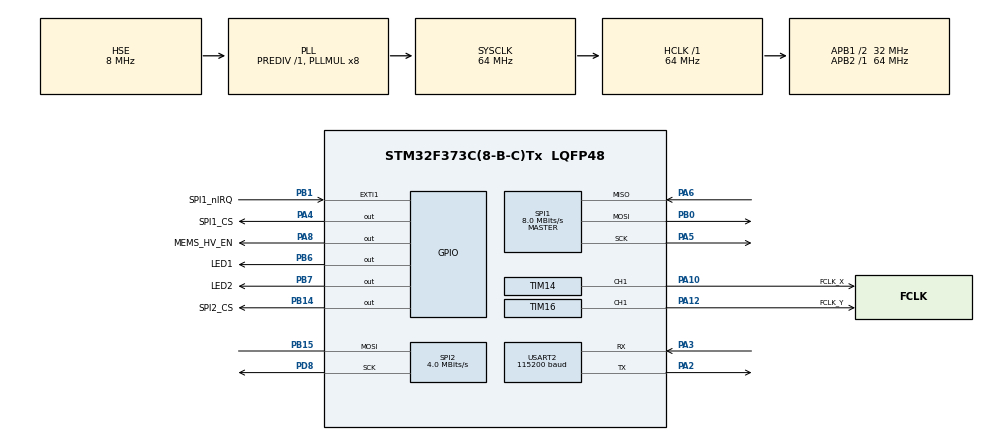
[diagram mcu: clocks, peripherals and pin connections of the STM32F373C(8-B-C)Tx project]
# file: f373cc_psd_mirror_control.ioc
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IWDG.Prescaler=IWDG_PRESCALER_256
IWDG.Reload=IWDG_COUNTER_VAL
IWDG.Window=IWDG_WINDOW_VAL
Mcu.Family=STM32F3
Mcu.Name=STM32F373C(8-B-C)Tx
Mcu.Package=LQFP48
Mcu.UserConstants=TIM14_COUNT_PERIOD,(64000-1);TIM13_COUNT_PERIOD,(64000-1);TIM16_COUNT_PERIOD,(64000-1);IWDG_COUNTER_VAL,128;IWDG_WINDOW_VAL,128
NVIC.EXTI1_IRQn=true\:0\:0\:false\:false\:true\:true\:true\:true
NVIC.PriorityGroup=NVIC_PRIORITYGROUP_4
PA10.GPIO_Label=FCLK_X
PA10.Signal=S_TIM14_CH1
PA12.GPIO_Label=FCLK_Y
PA12.Signal=S_TIM16_CH1
PA13.Mode=Serial_Wire
PA13.Signal=SYS_JTMS-SWDIO
PA14.Mode=Serial_Wire
PA14.Signal=SYS_JTCK-SWCLK
PA2.Mode=Asynchronous
PA2.Signal=USART2_TX
PA3.Mode=Asynchronous
PA3.Signal=USART2_RX
PA4.GPIO_Label=SPI1_CS
PA4.GPIO_Speed=GPIO_SPEED_FREQ_HIGH
PA4.PinState=GPIO_PIN_RESET
PA4.Signal=GPIO_Output
PA5.Mode=Full_Duplex_Master
PA5.Signal=SPI1_SCK
PA6.Mode=Full_Duplex_Master
PA6.Signal=SPI1_MISO
PA8.GPIO_Label=MEMS_HV_EN
PA8.Signal=GPIO_Output
PB0.Mode=Full_Duplex_Master
PB0.Signal=SPI1_MOSI
PB1.GPIO_Label=SPI1_nIRQ
PB1.GPIO_ModeDefaultEXTI=GPIO_MODE_IT_FALLING
PB1.Signal=GPXTI1
PB14.GPIO_Label=SPI2_CS
PB14.GPIO_Speed=GPIO_SPEED_FREQ_HIGH
PB14.Signal=GPIO_Output
PB15.Mode=Simplex_Bidirectional_Master
PB15.Signal=SPI2_MOSI
PB6.GPIO_Label=LED1
PB6.Signal=GPIO_Output
PB7.GPIO_Label=LED2
PB7.Signal=GPIO_Output
PB9.Signal=S_TIM17_CH1
PD8.Mode=Simplex_Bidirectional_Master
PD8.Signal=SPI2_SCK
PF0-OSC_IN.Mode=HSE-External-Oscillator
PF0-OSC_IN.Signal=RCC_OSC_IN
PF1-OSC_OUT.Mode=HSE-External-Oscillator
PF1-OSC_OUT.Signal=RCC_OSC_OUT
ProjectManager.HeapSize=0x200
ProjectManager.StackSize=0x400
ProjectManager.TargetToolchain=STM32CubeIDE
RCC.AHBFreq_Value=64000000
RCC.APB1CLKDivider=RCC_HCLK_DIV2
RCC.APB1Freq_Value=32000000
RCC.APB1TimFreq_Value=64000000
RCC.APB2Freq_Value=64000000
RCC.APB2TimFreq_Value=64000000
RCC.CortexFreq_Value=64000000
RCC.HCLKFreq_Value=64000000
RCC.HSE_VALUE=8000000
RCC.HSI_VALUE=8000000
RCC.LSE_VALUE=32768
RCC.PLLMUL=RCC_PLL_MUL8
RCC.PLLSourceVirtual=RCC_PLLSOURCE_HSE
RCC.SYSCLKFreq_VALUE=64000000
RCC.SYSCLKSource=RCC_SYSCLKSOURCE_PLLCLK
RCC.USBFreq_Value=64000000
SH.S_TIM14_CH1.0=TIM14_CH1,Output Compare1 CH1
SH.S_TIM16_CH1.0=TIM16_CH1,Output Compare1 CH1
SH.S_TIM17_CH1.0=TIM17_CH1
SPI1.BaudRatePrescaler=SPI_BAUDRATEPRESCALER_8
SPI1.CalculateBaudRate=8.0 MBits/s
SPI1.DataSize=SPI_DATASIZE_8BIT
SPI1.Direction=SPI_DIRECTION_2LINES
SPI1.Mode=SPI_MODE_MASTER
SPI1.VirtualType=VM_MASTER
SPI2.BaudRatePrescaler=SPI_BAUDRATEPRESCALER_8
SPI2.CalculateBaudRate=4.0 MBits/s
SPI2.DataSize=SPI_DATASIZE_8BIT
SPI2.Direction=SPI_DIRECTION_1LINE
SPI2.Mode=SPI_MODE_MASTER
SPI2.VirtualType=VM_MASTER
TIM13.AutoReloadPreload=TIM_AUTORELOAD_PRELOAD_DISABLE
TIM13.Period=TIM13_COUNT_PERIOD
TIM14.AutoReloadPreload=TIM_AUTORELOAD_PRELOAD_ENABLE
TIM14.Channel=TIM_CHANNEL_1
TIM14.OCMode_1=TIM_OCMODE_TOGGLE
TIM14.Period=TIM14_COUNT_PERIOD
TIM16.AutoReloadPreload=TIM_AUTORELOAD_PRELOAD_ENABLE
TIM16.Channel=TIM_CHANNEL_1
TIM16.OCMode_1=TIM_OCMODE_TOGGLE
TIM16.Period=TIM16_COUNT_PERIOD
USART2.BaudRate=115200
USART2.VirtualMode-Asynchronous=VM_ASYNC
VP_IWDG_VS_IWDG.Mode=IWDG_Activate
VP_TIM13_VS_ClockSourceINT.Mode=Enable_Timer
VP_TIM14_VS_ClockSourceINT.Mode=Enable_Timer
VP_TIM16_VS_ClockSourceINT.Mode=Enable_Timer
board=custom

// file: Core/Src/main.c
/* USER CODE BEGIN Header */
/**
  ******************************************************************************
  * @file           : main.c
  * @brief          : Main program body
  ******************************************************************************
  * @attention
  *
  * <h2><center>&copy; Copyright (c) 2021 STMicroelectronics.
  * All rights reserved.</center></h2>
  *
  * This software component is licensed by ST under BSD 3-Clause license,
  * the "License"; You may not use this file except in compliance with the
  * License. You may obtain a copy of the License at:
  *                        opensource.org/licenses/BSD-3-Clause
  *
  ******************************************************************************
  */
/* USER CODE END Header */
#include "main.h"

/* USER CODE BEGIN Includes */
#include "mcp3564.h"
#include "mirrorcle_mems_driver.h"
#include "math.h"

/* USER CODE END Includes */

/* USER CODE BEGIN PD */

/* @brief TIMER Period definitions for MEMS filter clocks
 * @todo find appropriate low pass cuttoff frequency
 *
 * User must provide filter clock for the 5th order Bessel low pass filters.
 * When this clock is not running, output voltages do not update or
 * follow the input. The clock (FCLK) can be driven by ~3V TTL, 50% duty cycle.
 * Set clock frequency to the desired filter cut off frequency x 60
 * E.g.: Device datasheet (on the right) states
 * "Recommended LPF cut off freq" of 1000Hz,
 * then FCLK Input = 60kHz
 * TIM channels are "toggle on match", so output is half the frequency of
 * the TIM period. e.g. desired = 1kHz @CPU = 64MHz
 * Period = (64MHz/1kHz/2 -1) = (32000-1)
 * Period = (64MHz/240Hz/2-1) = (2222-1)
 */
// TIM14_CH1 is FCLK_X (MEMS X-axis filter clock)
#ifdef TIM14_COUNT_PERIOD
	#undef TIM14_COUNT_PERIOD
	#define TIM14_COUNT_PERIOD (2221) //(32000-1)
#endif
// TIM16_CH1 is FCLK_Y (MEMS Y-axis filter clock)
#ifdef TIM16_COUNT_PERIOD
	#undef TIM16_COUNT_PERIOD
	#define TIM16_COUNT_PERIOD (2221) // (32000-1)
#endif

// @todo this IWDG is so f*cking wrong
// 3000 ms should be a CTR value of 128 but its not even 1000 ms
// CTR value of 1024 works when refreshing every second
#ifdef IWDG_COUNTER_VAL
	#undef IWDG_COUNTER_VAL
	#define IWDG_COUNTER_VAL (1024)
#endif
#ifdef IWDG_WINDOW_VAL
	#undef IWDG_WINDOW_VAL
	#define IWDG_WINDOW_VAL (1024)
#endif

/* @brief calibrated, measured ADC reference voltage (2.5V)
 * @todo  calibrate this voltage with precise multimeter
 * @date  2022-08-01
 * @note  equipment: RIGOL DS1104 CH1 500mV/div DC 10:1 (Simon's private device)
 * */
#define VREF_2V5_CALIBRATED (2.58f)

/* USER CODE END PD */

IWDG_HandleTypeDef hiwdg;

SPI_HandleTypeDef hspi1;
SPI_HandleTypeDef hspi2;

TIM_HandleTypeDef htim13;
TIM_HandleTypeDef htim14;
TIM_HandleTypeDef htim16;

UART_HandleTypeDef huart2;

/* USER CODE BEGIN PV */
volatile uint32_t adc_val;
volatile bool setup_done;

uint8_t spi1_tx_buf[8];
uint8_t spi1_rx_buf[8];

volatile uint32_t adc_channels[4];
volatile bool flag_new_adc_data;

const uint8_t MCP3564_SCAN_ID_TO_CHANNEL[16] = {
		0xff, 0xff, 0xff, 0xff, 0xff, 0xff, 0xff, 0xff,
		0x00, 0x01, 0x02, 0x03, 0xff, 0xff, 0xff, 0xff};

float sx,sy, brightness;

/* USER CODE END PV */

void SystemClock_Config(void);
static void MX_GPIO_Init(void);
static void MX_SPI1_Init(void);
static void MX_SPI2_Init(void);
static void MX_USART2_UART_Init(void);
static void MX_TIM14_Init(void);
static void MX_TIM16_Init(void);
static void MX_TIM13_Init(void);
static void MX_IWDG_Init(void);

int main(void)
{

  /* MCU Configuration--------------------------------------------------------*/

  /* Reset of all peripherals, Initializes the Flash interface and the Systick. */
  HAL_Init();

  /* Configure the system clock */
  SystemClock_Config();

  /* Initialize all configured peripherals */
  MX_GPIO_Init();
  MX_SPI1_Init();
  MX_SPI2_Init();
  MX_USART2_UART_Init();
  MX_TIM14_Init();
  MX_TIM16_Init();
  MX_TIM13_Init();
  MX_IWDG_Init();
  /* USER CODE BEGIN 2 */

  MEMS_DRIVER_HV_Disable();

  printf("HAmlo :)\n");
  HAL_IWDG_Refresh(&hiwdg); // this is how the Watchdog is reset, if not done within 3s, the MCU will be reset

  // start MEMS FCLK_X
  HAL_TIM_Base_Start(&htim14);
  HAL_TIM_OC_Start(&htim14, TIM_CHANNEL_1);
  //htim14.Instance->CCR1 = 2;

  // start MEMS FCLK_Y
  HAL_TIM_Base_Start(&htim16);
  HAL_TIM_OC_Start(&htim16, TIM_CHANNEL_1);
  //htim16.Instance->CCR1 = 2;
  HAL_IWDG_Refresh(&hiwdg);

  // load config to DAC for streaming 4 channels
  MEMS_DRIVER_Init(&hspi2);
  MCP3561_Channels(&hspi1, MCP3561_MUX_CH0, MCP3561_MUX_CH1);
  HAL_GPIO_WritePin(LED1_GPIO_Port, LED1_Pin, GPIO_PIN_SET);

  HAL_IWDG_Refresh(&hiwdg);

  // load config to ADC for continuous conversation of multiple input channels
  MCP3561_Reset(&hspi1);
  HAL_Delay(10);
  MCP3561_Init(&hspi1);
  // @note configure the chip inside the mcp3561_conf.h

  HAL_IWDG_Refresh(&hiwdg);
  // prepare ADC stream read request (also used in ISR)
  spi1_tx_buf[0] = MCP3561_DEVICE_ADDRESS_MASK | 1; // [a a 0 0 0 0 0 1]

  // read first data (aka. clear any pending DRDY IRQ)
  HAL_GPIO_WritePin(SPI1_CS_GPIO_Port, SPI1_CS_Pin, 0);
  HAL_SPI_TransmitReceive(&hspi1, spi1_tx_buf, spi1_rx_buf, 5, 3);
  HAL_GPIO_WritePin(SPI1_CS_GPIO_Port, SPI1_CS_Pin, 1);
  flag_new_adc_data = 0;

  // enable 200V source on MEMS driver board, activating MEMS mirror movement
  MEMS_DRIVER_HV_Enable();

  HAL_IWDG_Refresh(&hiwdg);
  setup_done = true;
  /* USER CODE END 2 */

  /* Infinite loop */
  while (1)
  {

    /* USER CODE BEGIN 3 */
	  /*
	   * the main loop
	   * 1. reading from the ADC buffer register, which is filled with values by the ISR
	   * 2. converting the ADC values to voltage and angles
	   * 3. write the angles to the MEMS mirror
	   * 4. reset the watchdog
	   * 5. wait for the data ready flag to go high from the ISR
	   *
	   * What is weird tho:
	   * According to the PSD application note, the DSP should divide the X and Y values by the brightness
	   * However, it appears to work without that operation...
	   * I wouldn't know how to correctly divide it anyways.
	   * The brightness level probably varies greatly depending on the actual setup in a free space experiment.
	   * */

	// ADC channels
	// [0] unused / not measured
	// [1] X-axis ?
	// [2] sum current (can be used as brightness detector)
	// [3] Y-axis ?

	brightness = ((float)adc_channels[2])*2*VREF_2V5_CALIBRATED / ((float)0xffffff);
	// printf("%.5f\t", brightness);

	/** @todo calibrate */
	sx = ((float)adc_channels[1])*2*VREF_2V5_CALIBRATED / ((float)0xffffff);
	sx = sx -1.25 -0.055;
	sx *= 10;   // convert to degrees ?
	sx += 1.24; // zeroing, subtract mean value
	sx /= 2;    // scale down ?
	sx *= -1;   // invert for MEMS
	sy = ((float)adc_channels[3])*2*VREF_2V5_CALIBRATED / ((float)0xffffff);
	sy = sy -1.25 -0.055;
	sy *= 10;
	sy += 1.18;
	sy /= 2;
	sy *= -1;

	if( fabs(sx) < 1.0 && fabs(sy) < 1.0){
		printf("%.2f\t%.2f\n", sx, sy);
	}
	MEMS_DRIVER_SetAngle(sx, sy);
	MEMS_DRIVER_Write_Channel(&hspi2);

	// wait for DRDY interrupt...
	// if the ISR fails to load new data from the ADC within ~3s
	// --> the watchdog will trigger a full reset
	HAL_IWDG_Refresh(&hiwdg); // reset watchdog
	flag_new_adc_data = 0; // clear DRDY flag
	while( flag_new_adc_data == 0){
	};
  }
  /* USER CODE END 3 */
}

void SystemClock_Config(void)
{
  RCC_OscInitTypeDef RCC_OscInitStruct = {0};
  RCC_ClkInitTypeDef RCC_ClkInitStruct = {0};
  RCC_PeriphCLKInitTypeDef PeriphClkInit = {0};

  /** Initializes the RCC Oscillators according to the specified parameters
  * in the RCC_OscInitTypeDef structure.
  */
  RCC_OscInitStruct.OscillatorType = RCC_OSCILLATORTYPE_LSI|RCC_OSCILLATORTYPE_HSE;
  RCC_OscInitStruct.HSEState = RCC_HSE_ON;
  RCC_OscInitStruct.HSEPredivValue = RCC_HSE_PREDIV_DIV1;
  RCC_OscInitStruct.HSIState = RCC_HSI_ON;
  RCC_OscInitStruct.LSIState = RCC_LSI_ON;
  RCC_OscInitStruct.PLL.PLLState = RCC_PLL_ON;
  RCC_OscInitStruct.PLL.PLLSource = RCC_PLLSOURCE_HSE;
  RCC_OscInitStruct.PLL.PLLMUL = RCC_PLL_MUL8;
  if (HAL_RCC_OscConfig(&RCC_OscInitStruct) != HAL_OK)
  {
    Error_Handler();
  }

  /** Initializes the CPU, AHB and APB buses clocks
  */
  RCC_ClkInitStruct.ClockType = RCC_CLOCKTYPE_HCLK|RCC_CLOCKTYPE_SYSCLK
                              |RCC_CLOCKTYPE_PCLK1|RCC_CLOCKTYPE_PCLK2;
  RCC_ClkInitStruct.SYSCLKSource = RCC_SYSCLKSOURCE_PLLCLK;
  RCC_ClkInitStruct.AHBCLKDivider = RCC_SYSCLK_DIV1;
  RCC_ClkInitStruct.APB1CLKDivider = RCC_HCLK_DIV2;
  RCC_ClkInitStruct.APB2CLKDivider = RCC_HCLK_DIV1;

  if (HAL_RCC_ClockConfig(&RCC_ClkInitStruct, FLASH_LATENCY_2) != HAL_OK)
  {
    Error_Handler();
  }
  PeriphClkInit.PeriphClockSelection = RCC_PERIPHCLK_USART2;
  PeriphClkInit.Usart2ClockSelection = RCC_USART2CLKSOURCE_PCLK1;
  if (HAL_RCCEx_PeriphCLKConfig(&PeriphClkInit) != HAL_OK)
  {
    Error_Handler();
  }
}

static void MX_IWDG_Init(void)
{

  hiwdg.Instance = IWDG;
  hiwdg.Init.Prescaler = IWDG_PRESCALER_256;
  hiwdg.Init.Window = IWDG_WINDOW_VAL;
  hiwdg.Init.Reload = IWDG_COUNTER_VAL;
  if (HAL_IWDG_Init(&hiwdg) != HAL_OK)
  {
    Error_Handler();
  }

}

static void MX_SPI1_Init(void)
{

  /* SPI1 parameter configuration*/
  hspi1.Instance = SPI1;
  hspi1.Init.Mode = SPI_MODE_MASTER;
  hspi1.Init.Direction = SPI_DIRECTION_2LINES;
  hspi1.Init.DataSize = SPI_DATASIZE_8BIT;
  hspi1.Init.CLKPolarity = SPI_POLARITY_LOW;
  hspi1.Init.CLKPhase = SPI_PHASE_1EDGE;
  hspi1.Init.NSS = SPI_NSS_SOFT;
  hspi1.Init.BaudRatePrescaler = SPI_BAUDRATEPRESCALER_8;
  hspi1.Init.FirstBit = SPI_FIRSTBIT_MSB;
  hspi1.Init.TIMode = SPI_TIMODE_DISABLE;
  hspi1.Init.CRCCalculation = SPI_CRCCALCULATION_DISABLE;
  hspi1.Init.CRCPolynomial = 7;
  hspi1.Init.CRCLength = SPI_CRC_LENGTH_DATASIZE;
  hspi1.Init.NSSPMode = SPI_NSS_PULSE_ENABLE;
  if (HAL_SPI_Init(&hspi1) != HAL_OK)
  {
    Error_Handler();
  }

}

static void MX_SPI2_Init(void)
{

  /* SPI2 parameter configuration*/
  hspi2.Instance = SPI2;
  hspi2.Init.Mode = SPI_MODE_MASTER;
  hspi2.Init.Direction = SPI_DIRECTION_1LINE;
  hspi2.Init.DataSize = SPI_DATASIZE_8BIT;
  hspi2.Init.CLKPolarity = SPI_POLARITY_LOW;
  hspi2.Init.CLKPhase = SPI_PHASE_1EDGE;
  hspi2.Init.NSS = SPI_NSS_SOFT;
  hspi2.Init.BaudRatePrescaler = SPI_BAUDRATEPRESCALER_8;
  hspi2.Init.FirstBit = SPI_FIRSTBIT_MSB;
  hspi2.Init.TIMode = SPI_TIMODE_DISABLE;
  hspi2.Init.CRCCalculation = SPI_CRCCALCULATION_DISABLE;
  hspi2.Init.CRCPolynomial = 7;
  hspi2.Init.CRCLength = SPI_CRC_LENGTH_DATASIZE;
  hspi2.Init.NSSPMode = SPI_NSS_PULSE_ENABLE;
  if (HAL_SPI_Init(&hspi2) != HAL_OK)
  {
    Error_Handler();
  }

}

static void MX_TIM13_Init(void)
{

  htim13.Instance = TIM13;
  htim13.Init.Prescaler = 0;
  htim13.Init.CounterMode = TIM_COUNTERMODE_UP;
  htim13.Init.Period = TIM13_COUNT_PERIOD;
  htim13.Init.ClockDivision = TIM_CLOCKDIVISION_DIV1;
  htim13.Init.AutoReloadPreload = TIM_AUTORELOAD_PRELOAD_DISABLE;
  if (HAL_TIM_Base_Init(&htim13) != HAL_OK)
  {
    Error_Handler();
  }

}

static void MX_TIM14_Init(void)
{

  TIM_OC_InitTypeDef sConfigOC = {0};

  htim14.Instance = TIM14;
  htim14.Init.Prescaler = 0;
  htim14.Init.CounterMode = TIM_COUNTERMODE_UP;
  htim14.Init.Period = TIM14_COUNT_PERIOD;
  htim14.Init.ClockDivision = TIM_CLOCKDIVISION_DIV1;
  htim14.Init.AutoReloadPreload = TIM_AUTORELOAD_PRELOAD_ENABLE;
  if (HAL_TIM_Base_Init(&htim14) != HAL_OK)
  {
    Error_Handler();
  }
  if (HAL_TIM_OC_Init(&htim14) != HAL_OK)
  {
    Error_Handler();
  }
  sConfigOC.OCMode = TIM_OCMODE_TOGGLE;
  sConfigOC.Pulse = 0;
  sConfigOC.OCPolarity = TIM_OCPOLARITY_HIGH;
  sConfigOC.OCFastMode = TIM_OCFAST_DISABLE;
  if (HAL_TIM_OC_ConfigChannel(&htim14, &sConfigOC, TIM_CHANNEL_1) != HAL_OK)
  {
    Error_Handler();
  }
  HAL_TIM_MspPostInit(&htim14);

}

static void MX_TIM16_Init(void)
{

  TIM_OC_InitTypeDef sConfigOC = {0};
  TIM_BreakDeadTimeConfigTypeDef sBreakDeadTimeConfig = {0};

  htim16.Instance = TIM16;
  htim16.Init.Prescaler = 0;
  htim16.Init.CounterMode = TIM_COUNTERMODE_UP;
  htim16.Init.Period = TIM16_COUNT_PERIOD;
  htim16.Init.ClockDivision = TIM_CLOCKDIVISION_DIV1;
  htim16.Init.RepetitionCounter = 0;
  htim16.Init.AutoReloadPreload = TIM_AUTORELOAD_PRELOAD_ENABLE;
  if (HAL_TIM_Base_Init(&htim16) != HAL_OK)
  {
    Error_Handler();
  }
  if (HAL_TIM_OC_Init(&htim16) != HAL_OK)
  {
    Error_Handler();
  }
  sConfigOC.OCMode = TIM_OCMODE_TOGGLE;
  sConfigOC.Pulse = 0;
  sConfigOC.OCPolarity = TIM_OCPOLARITY_HIGH;
  sConfigOC.OCNPolarity = TIM_OCNPOLARITY_HIGH;
  sConfigOC.OCFastMode = TIM_OCFAST_DISABLE;
  sConfigOC.OCIdleState = TIM_OCIDLESTATE_RESET;
  sConfigOC.OCNIdleState = TIM_OCNIDLESTATE_RESET;
  if (HAL_TIM_OC_ConfigChannel(&htim16, &sConfigOC, TIM_CHANNEL_1) != HAL_OK)
  {
    Error_Handler();
  }
  sBreakDeadTimeConfig.OffStateRunMode = TIM_OSSR_DISABLE;
  sBreakDeadTimeConfig.OffStateIDLEMode = TIM_OSSI_DISABLE;
  sBreakDeadTimeConfig.LockLevel = TIM_LOCKLEVEL_OFF;
  sBreakDeadTimeConfig.DeadTime = 0;
  sBreakDeadTimeConfig.BreakState = TIM_BREAK_DISABLE;
  sBreakDeadTimeConfig.BreakPolarity = TIM_BREAKPOLARITY_HIGH;
  sBreakDeadTimeConfig.AutomaticOutput = TIM_AUTOMATICOUTPUT_DISABLE;
  if (HAL_TIMEx_ConfigBreakDeadTime(&htim16, &sBreakDeadTimeConfig) != HAL_OK)
  {
    Error_Handler();
  }
  HAL_TIM_MspPostInit(&htim16);

}

static void MX_USART2_UART_Init(void)
{

  huart2.Instance = USART2;
  huart2.Init.BaudRate = 115200;
  huart2.Init.WordLength = UART_WORDLENGTH_8B;
  huart2.Init.StopBits = UART_STOPBITS_1;
  huart2.Init.Parity = UART_PARITY_NONE;
  huart2.Init.Mode = UART_MODE_TX_RX;
  huart2.Init.HwFlowCtl = UART_HWCONTROL_NONE;
  huart2.Init.OverSampling = UART_OVERSAMPLING_16;
  huart2.Init.OneBitSampling = UART_ONE_BIT_SAMPLE_DISABLE;
  huart2.AdvancedInit.AdvFeatureInit = UART_ADVFEATURE_NO_INIT;
  if (HAL_UART_Init(&huart2) != HAL_OK)
  {
    Error_Handler();
  }

}

static void MX_GPIO_Init(void)
{
  GPIO_InitTypeDef GPIO_InitStruct = {0};

  /* GPIO Ports Clock Enable */
  __HAL_RCC_GPIOF_CLK_ENABLE();
  __HAL_RCC_GPIOA_CLK_ENABLE();
  __HAL_RCC_GPIOB_CLK_ENABLE();
  __HAL_RCC_GPIOD_CLK_ENABLE();

  /*Configure GPIO pin Output Level */
  HAL_GPIO_WritePin(GPIOA, SPI1_CS_Pin|MEMS_HV_EN_Pin, GPIO_PIN_RESET);

  /*Configure GPIO pin Output Level */
  HAL_GPIO_WritePin(GPIOB, SPI2_CS_Pin|LED1_Pin|LED2_Pin, GPIO_PIN_RESET);

  /*Configure GPIO pin : SPI1_CS_Pin */
  GPIO_InitStruct.Pin = SPI1_CS_Pin;
  GPIO_InitStruct.Mode = GPIO_MODE_OUTPUT_PP;
  GPIO_InitStruct.Pull = GPIO_NOPULL;
  GPIO_InitStruct.Speed = GPIO_SPEED_FREQ_HIGH;
  HAL_GPIO_Init(SPI1_CS_GPIO_Port, &GPIO_InitStruct);

  /*Configure GPIO pin : SPI1_nIRQ_Pin */
  GPIO_InitStruct.Pin = SPI1_nIRQ_Pin;
  GPIO_InitStruct.Mode = GPIO_MODE_IT_FALLING;
  GPIO_InitStruct.Pull = GPIO_NOPULL;
  HAL_GPIO_Init(SPI1_nIRQ_GPIO_Port, &GPIO_InitStruct);

  /*Configure GPIO pin : SPI2_CS_Pin */
  GPIO_InitStruct.Pin = SPI2_CS_Pin;
  GPIO_InitStruct.Mode = GPIO_MODE_OUTPUT_PP;
  GPIO_InitStruct.Pull = GPIO_NOPULL;
  GPIO_InitStruct.Speed = GPIO_SPEED_FREQ_HIGH;
  HAL_GPIO_Init(SPI2_CS_GPIO_Port, &GPIO_InitStruct);

  /*Configure GPIO pin : MEMS_HV_EN_Pin */
  GPIO_InitStruct.Pin = MEMS_HV_EN_Pin;
  GPIO_InitStruct.Mode = GPIO_MODE_OUTPUT_PP;
  GPIO_InitStruct.Pull = GPIO_NOPULL;
  GPIO_InitStruct.Speed = GPIO_SPEED_FREQ_LOW;
  HAL_GPIO_Init(MEMS_HV_EN_GPIO_Port, &GPIO_InitStruct);

  /*Configure GPIO pins : LED1_Pin LED2_Pin */
  GPIO_InitStruct.Pin = LED1_Pin|LED2_Pin;
  GPIO_InitStruct.Mode = GPIO_MODE_OUTPUT_PP;
  GPIO_InitStruct.Pull = GPIO_NOPULL;
  GPIO_InitStruct.Speed = GPIO_SPEED_FREQ_LOW;
  HAL_GPIO_Init(GPIOB, &GPIO_InitStruct);

  /*Configure GPIO pin : PB9 */
  GPIO_InitStruct.Pin = GPIO_PIN_9;
  GPIO_InitStruct.Mode = GPIO_MODE_AF_PP;
  GPIO_InitStruct.Pull = GPIO_NOPULL;
  GPIO_InitStruct.Speed = GPIO_SPEED_FREQ_LOW;
  GPIO_InitStruct.Alternate = GPIO_AF1_TIM17;
  HAL_GPIO_Init(GPIOB, &GPIO_InitStruct);

  /* EXTI interrupt init*/
  HAL_NVIC_SetPriority(EXTI1_IRQn, 0, 0);
  HAL_NVIC_EnableIRQ(EXTI1_IRQn);

}

/* USER CODE BEGIN 4 */
/**
 * @brief  Retargets the C library printf function to the USART.
 * @param  None
 * @retval None
 */
PUTCHAR_PROTOTYPE {
    /* Place your implementation of fputc here */
    /* e.g. write a character to the EVAL_COM1 and Loop until the end of transmission */
    HAL_UART_Transmit(&huart2, (uint8_t *) &ch, 1, 0xFFFF);

    return ch;
}

/**
* @brief Interrupt callback for GPIOs
*/
void HAL_GPIO_EXTI_Callback(uint16_t GPIO_Pin)
{

}
/* USER CODE END 4 */

void Error_Handler(void)
{
  __disable_irq();
  while (1)
  {
  }
}
